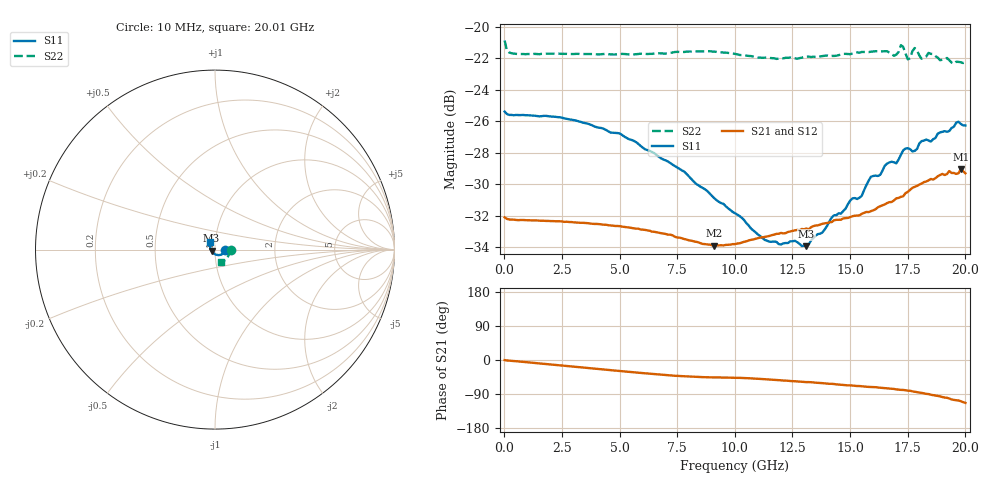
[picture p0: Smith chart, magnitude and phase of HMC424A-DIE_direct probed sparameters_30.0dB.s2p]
!s2p File: Measurements: S11, S21, S12, S22
# GHz S dB R 50.0
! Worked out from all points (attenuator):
!   201 points, 10 MHz to 20.01 GHz, reference 50 ohm
!   highest |S21| = -29.04 dB at 19.81 GHz (marker M1); lowest = -33.9 dB at 9.11 GHz (marker M2)
!   lowest |S11| = -33.9 dB at 13.11 GHz (marker M3), VSWR 1.04, Z = 48.1 - j0.64 ohm
!   |S11| at or under -10 dB: start of sweep to end of sweep
!   |S22| runs from -22.4 to -20.9 dB; largest |S21 - S12| = 0.00035
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0.01  -25.39 -0.0  -32.09 -0.2  -31.99 -0.2  -20.88 -1.5
0.11  -25.54 -1.5  -32.19 -1.2  -32.18 -1.2  -21.50 -2.7
0.31  -25.60 -2.3  -32.23 -2.1  -32.24 -2.2  -21.69 -2.6
3.41  -26.09 -23.8  -32.44 -19.9  -32.44 -20.0  -21.74 -15.9
5.01  -26.78 -37.1  -32.65 -29.1  -32.66 -28.9  -21.75 -22.9
6.71  -28.26 -51.7  -33.07 -38.1  -33.06 -38.1  -21.69 -29.9
9.11  -30.88 -78.6  -33.88 -45.9  -33.87 -45.8  -21.59 -41.2
10.01  -31.83 -91.8  -33.79 -47.1  -33.78 -46.9  -21.73 -45.3
11.31  -33.53 -117.8  -33.33 -50.7  -33.31 -50.7  -21.97 -48.7
13.11  -33.92 -160.7  -32.80 -58.4  -32.77 -58.3  -21.90 -52.9
13.41  -33.40 -168.1  -32.65 -59.0  -32.66 -58.9  -21.91 -53.6
15.51  -30.73 154.5  -31.87 -69.3  -31.86 -69.0  -21.61 -59.3
15.91  -29.52 148.0  -31.70 -71.2  -31.71 -71.2  -21.59 -60.6
16.71  -28.61 137.7  -31.13 -75.7  -31.10 -75.7  -21.65 -64.5
17.01  -28.67 136.4  -30.89 -77.5  -30.84 -77.5  -21.78 -63.1
17.21  -28.13 136.4  -30.79 -78.9  -30.74 -79.1  -21.18 -63.9
17.51  -27.71 131.3  -30.48 -80.9  -30.49 -81.5  -22.08 -66.7
17.81  -27.88 129.0  -30.16 -83.8  -30.20 -83.9  -21.36 -65.7
18.11  -27.26 125.8  -29.95 -86.7  -30.02 -86.4  -22.04 -67.2
18.41  -27.22 122.8  -29.75 -89.9  -29.80 -89.8  -21.67 -66.4
19.81  -26.17 120.0  -29.04 -108.7  -29.05 -108.6  -22.26 -67.2
20.01  -26.27 122.3  -29.30 -113.2  -29.27 -113.0  -22.27 -65.7
